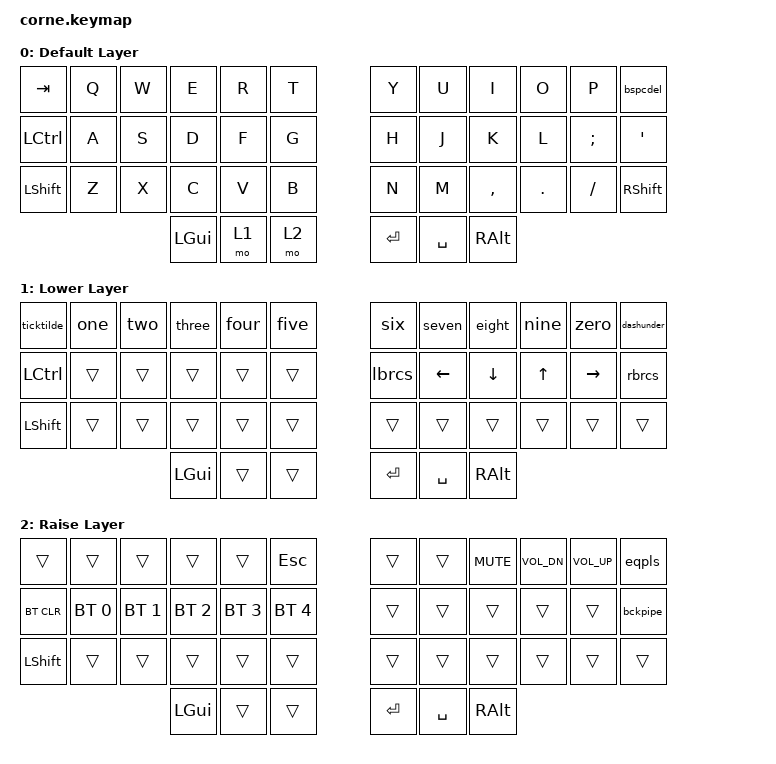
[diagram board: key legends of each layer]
#include <behaviors.dtsi>
#include <dt-bindings/zmk/bt.h>
#include <dt-bindings/zmk/keys.h>

#define TAP_SHIFT(_name_, _bindings_)       \
_name_: tap_shift_##_name_ {                \
    compatible = "zmk,behavior-mod-morph";  \
    bindings = <_bindings_>;                \
    #binding-cells = <0>;                   \
    mods = <(MOD_LSFT|MOD_RSFT)>;           \
};

#define TAP_CTRL(_name_, _bindings_)        \
_name_: tap_shift_##_name_ {                \
    compatible = "zmk,behavior-mod-morph";  \
    bindings = <_bindings_>;                \
    #binding-cells = <0>;                   \
    mods = <(MOD_LCTL|MOD_RCTL)>;           \
};

#define TAP_ALT(_name_, _bindings_)         \
_name_: tap_shift_##_name_ {                \
    compatible = "zmk,behavior-mod-morph";  \
    bindings = <_bindings_>;                \
    #binding-cells = <0>;                   \
    mods = <(MOD_LALT|MOD_RALT)>;           \
};

/ {
    behaviors {
        // default layer
        TAP_ALT(bspcdel,     &kp BSPC &kp DEL)
        // lower layer
        TAP_SHIFT(one,       &kp N1 &kp EXCL)
        TAP_SHIFT(two,       &kp N2 &kp AT)
        TAP_SHIFT(three,     &kp N3 &kp POUND)
        TAP_SHIFT(four,      &kp N4 &kp DLLR)
        TAP_SHIFT(five,      &kp N5 &kp PRCNT)
        TAP_SHIFT(six,       &kp N6 &kp CARET)
        TAP_SHIFT(seven,     &kp N7 &kp AMPS)
        TAP_SHIFT(eight,     &kp N8 &kp ASTRK)
        TAP_SHIFT(nine,      &kp N9 &kp LPAR)
        TAP_SHIFT(zero,      &kp N0 &kp RPAR)
        TAP_SHIFT(lbrcs,     &kp LEFT_BRACKET &kp LEFT_BRACE)
        TAP_SHIFT(rbrcs,     &kp RIGHT_BRACKET &kp RIGHT_BRACE)
        TAP_SHIFT(ticktilde, &kp GRAVE &kp TILDE)
        TAP_SHIFT(dashunder, &kp MINUS &kp UNDER)
        // raise layer
        TAP_SHIFT(eqpls,     &kp EQUAL &kp PLUS)
        TAP_SHIFT(bckpipe,   &kp BSLH &kp PIPE)
    };

    keymap {
        compatible = "zmk,keymap";

        default_layer {
            display-name = "Default Layer";

            // -----------------------------------------------------------------------------------------
            // |  TAB |  Q  |  W  |  E  |  R  |  T  |   |  Y  |  U   |  I  |  O  |  P  | BSPC |
            // | CTRL |  A  |  S  |  D  |  F  |  G  |   |  H  |  J   |  K  |  L  |  ;  |  '   |
            // | SHFT |  Z  |  X  |  C  |  V  |  B  |   |  N  |  M   |  ,  |  .  |  /  | SHFT |
            //                    | GUI | LWR | RSE |   | ENT | SPC  | ALT |

            bindings = <
&kp TAB    &kp Q  &kp W  &kp E     &kp R  &kp T    &kp Y    &kp U      &kp I      &kp O    &kp P     &bspcdel
&kp LCTRL  &kp A  &kp S  &kp D     &kp F  &kp G    &kp H    &kp J      &kp K      &kp L    &kp SEMI  &kp SQT
&kp LSHFT  &kp Z  &kp X  &kp C     &kp V  &kp B    &kp N    &kp M      &kp COMMA  &kp DOT  &kp FSLH  &kp RSHFT
                         &kp LGUI  &mo 1  &mo 2    &kp RET  &kp SPACE  &kp RALT
            >;
        };

        lower_layer {
            display-name = "Lower Layer";

            // -----------------------------------------------------------------------------------------
            // | `~   | 1!  | 2@  | 3#  | 4$  | 5%  |   | 6^  | 7&  | 8*  | 9(  | 0)  |  -_  |
            // | CTRL |     |     |     |     |     |   | [{  | LFT | DWN | UP  | RGT |  ]}  |
            // | SHFT |     |     |     |     |     |   |     |     |     |     |     |      |
            //                    | GUI |     |     |   | ENT | SPC | ALT |

            bindings = <
&ticktilde  &one    &two      &three  &four   &five      &six       &seven    &eight    &nine         &zero      &dashunder
&kp LCTRL   &trans  &trans    &trans  &trans  &trans     &lbrcs     &kp LEFT  &kp DOWN  &kp UP_ARROW  &kp RIGHT  &rbrcs
&kp LSHFT   &trans  &trans    &trans  &trans  &trans     &trans     &trans    &trans    &trans        &trans     &trans
                    &kp LGUI  &trans  &trans  &kp RET    &kp SPACE  &kp RALT
            >;
        };

        raise_layer {
            display-name = "Raise Layer";

            // -----------------------------------------------------------------------------------------
            // |      |     |     |     |     | ESC |   |     |     | MUTE | VOL_DN | VOL_UP |  =+  |
            // | BTCLR| BT1 | BT2 | BT3 | BT4 | BT5 |   |     |     |      |        |        |  \|  |
            // | SHFT |     |     |     |     |     |   |     |     |      |        |        |      |
            //                    | GUI |     |     |   | ENT | SPC | ALT  |

            bindings = <
&trans      &trans        &trans        &trans        &trans        &kp ESC          &trans     &trans     &kp K_MUTE &kp K_VOL_DN &kp K_VOL_UP &eqpls
&bt BT_CLR  &bt BT_SEL 0  &bt BT_SEL 1  &bt BT_SEL 2  &bt BT_SEL 3  &bt BT_SEL 4     &trans     &trans     &trans     &trans       &trans       &bckpipe
&kp LSHFT   &trans        &trans        &trans        &trans        &trans           &trans     &trans     &trans     &trans       &trans       &trans
                                        &kp LGUI      &trans        &trans           &kp RET    &kp SPACE  &kp RALT
            >;
        };
    };
};
